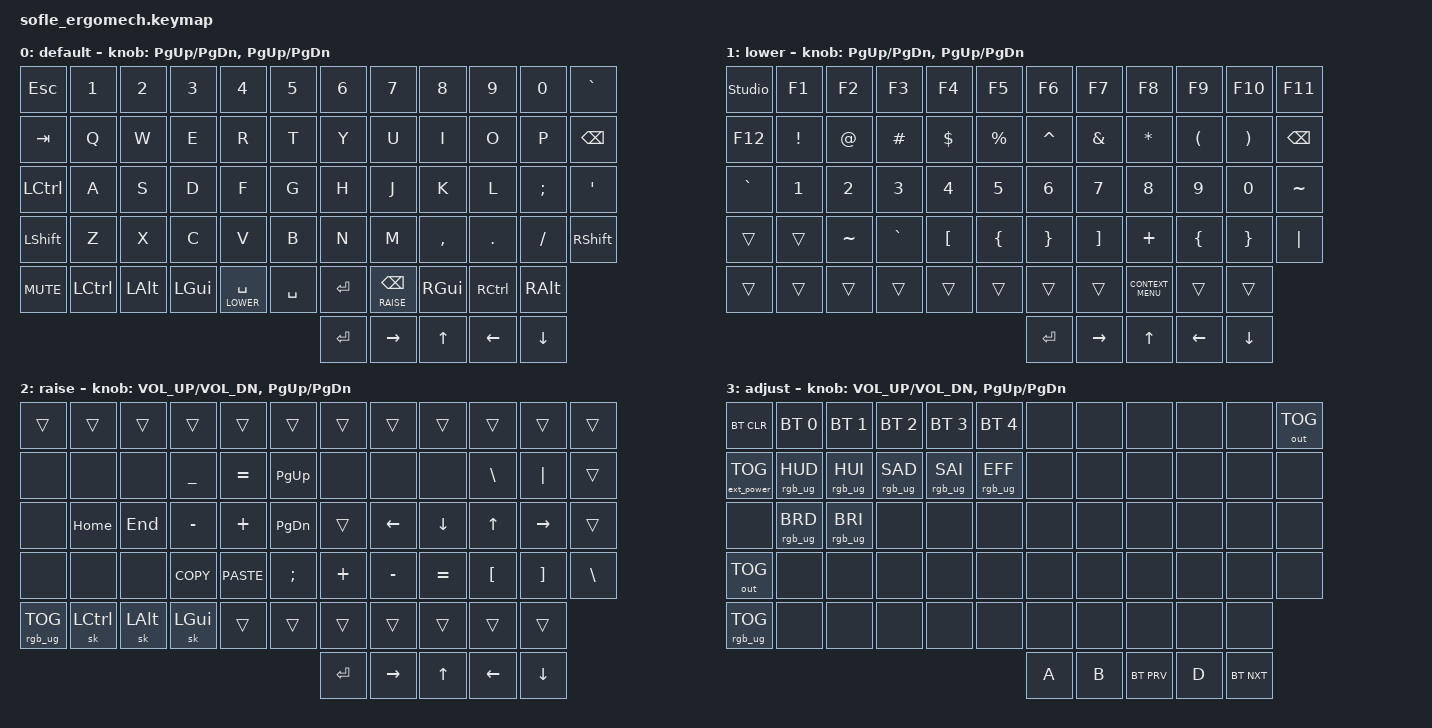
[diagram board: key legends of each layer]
/*
 * Copyright (c) 2020 The ZMK Contributors
 *
 * SPDX-License-Identifier: MIT
 */

#include <behaviors.dtsi>
#include <dt-bindings/zmk/bt.h>
#include <dt-bindings/zmk/ext_power.h>
#include <dt-bindings/zmk/keys.h>
#include <dt-bindings/zmk/outputs.h>
#include <dt-bindings/zmk/rgb.h>

#define BASE 0
#define LOWER 1
#define RAISE 2
#define ADJUST 3

&lt { tapping-term-ms = <150>; };

/ {
    // Activate ADJUST layer by pressing raise and lower

    conditional_layers {
        compatible = "zmk,conditional-layers";

        adjust_layer {
            if-layers = <LOWER RAISE>;
            then-layer = <ADJUST>;
        };
    };

    keymap {
        compatible = "zmk,keymap";

        default_layer {
            label = "default";
            bindings = <
&kp ESC     &kp N1     &kp N2    &kp N3    &kp N4           &kp N5     &kp N6     &kp N7          &kp N8        &kp N9     &kp N0    &kp GRAVE
&kp TAB     &kp Q      &kp W     &kp E     &kp R            &kp T      &kp Y      &kp U           &kp I         &kp O      &kp P     &kp BSPC
&kp LCTRL   &kp A      &kp S     &kp D     &kp F            &kp G      &kp H      &kp J           &kp K         &kp L      &kp SEMI  &kp SQT
&kp LSHFT   &kp Z      &kp X     &kp C     &kp V            &kp B      &kp N      &kp M           &kp COMMA     &kp DOT    &kp FSLH  &kp RSHFT
&kp C_MUTE  &kp LCTRL  &kp LALT  &kp LGUI  &lt LOWER SPACE  &kp SPACE  &kp RET    &lt RAISE BSPC  &kp RGUI      &kp RCTRL  &kp RALT
                                                                       &kp ENTER  &kp RIGHT       &kp UP_ARROW  &kp LEFT   &kp DOWN
            >;

            sensor-bindings = <&inc_dec_kp PG_UP PG_DN &inc_dec_kp PG_UP PG_DN>;
        };

        lower_layer {
            label = "lower";
            bindings = <
&studio_unlock    &kp F1        &kp F2        &kp F3        &kp F4            &kp F5          &kp F6           &kp F7             &kp F8              &kp F9                &kp F10                &kp F11
&kp F12    &kp EXCL      &kp AT        &kp HASH      &kp DOLLAR        &kp PERCENT     &kp CARET        &kp AMPERSAND      &kp ASTERISK        &kp LEFT_PARENTHESIS  &kp RIGHT_PARENTHESIS  &kp BACKSPACE
&kp GRAVE  &kp NUMBER_1  &kp NUMBER_2  &kp NUMBER_3  &kp NUMBER_4      &kp N5          &kp NUMBER_6     &kp NUMBER_7       &kp N8              &kp N9                &kp NUMBER_0           &kp TILDE
&trans     &trans        &kp TILDE     &kp GRAVE     &kp LEFT_BRACKET  &kp LEFT_BRACE  &kp RIGHT_BRACE  &kp RIGHT_BRACKET  &kp PLUS            &kp LBRC              &kp RBRC               &kp PIPE
&trans     &trans        &trans        &trans        &trans            &trans          &trans           &trans             &kp K_CONTEXT_MENU  &trans                &trans
                                                                                       &kp ENTER        &kp RIGHT          &kp UP_ARROW        &kp LEFT              &kp DOWN
            >;

            sensor-bindings = <&inc_dec_kp PG_UP PG_DN &inc_dec_kp PG_UP PG_DN>;
        };

        raise_layer {
            label = "raise";
            bindings = <
&trans           &trans     &trans        &trans          &trans       &trans         &trans     &trans     &trans        &trans         &trans     &trans
&none            &none      &none         &kp UNDERSCORE  &kp EQUAL    &kp PAGE_UP    &none      &none      &none         &kp BACKSLASH  &kp PIPE   &trans
&none            &kp HOME   &kp END       &kp MINUS       &kp PLUS     &kp PAGE_DOWN  &trans     &kp LEFT   &kp DOWN      &kp UP         &kp RIGHT  &trans
&none            &none      &none         &kp K_COPY      &kp K_PASTE  &kp SEMI       &kp PLUS   &kp MINUS  &kp EQUAL     &kp LBKT       &kp RBKT   &kp BSLH
&rgb_ug RGB_TOG  &sk LCTRL  &sk LEFT_ALT  &sk LGUI        &trans       &trans         &trans     &trans     &trans        &trans         &trans
                                                                                      &kp ENTER  &kp RIGHT  &kp UP_ARROW  &kp LEFT       &kp DOWN
            >;

            sensor-bindings = <&inc_dec_kp C_VOL_UP C_VOL_DN &inc_dec_kp PG_UP PG_DN>;
        };

        adjust_layer {
            // ----------------------------------------------------------------------------------------------------------------------------
            // | BTCLR  |  BT1    |  BT2    |   BT3   |   BT4   |   BT5   |                  |      |      |       |      |       |       |
            // | EXTPWR | RGB_HUD | RGB_HUI | RGB_SAD | RGB_SAI | RGB_EFF |                  |      |      |       |      |       |       |
            // |        | RGB_BRD | RGB_BRI |         |         |         |                  |      |      |       |      |       |       |
            // |        |         |         |         |         |         | RGB_TOG | |      |      |      |       |      |       |       |
            //                    |         |         |         |         |         | |      |      |      |       |      |

            label = "adjust";
            bindings = <
&bt BT_CLR         &bt BT_SEL 0     &bt BT_SEL 1     &bt BT_SEL 2     &bt BT_SEL 3     &bt BT_SEL 4     &none  &none  &none       &none  &none       &out OUT_TOG
&ext_power EP_TOG  &rgb_ug RGB_HUD  &rgb_ug RGB_HUI  &rgb_ug RGB_SAD  &rgb_ug RGB_SAI  &rgb_ug RGB_EFF  &none  &none  &none       &none  &none       &none
&none              &rgb_ug RGB_BRD  &rgb_ug RGB_BRI  &none            &none            &none            &none  &none  &none       &none  &none       &none
&out OUT_TOG       &none            &none            &none            &none            &none            &none  &none  &none       &none  &none       &none
&rgb_ug RGB_TOG    &none            &none            &none            &none            &none            &none  &none  &none       &none  &none
                                                                                                        &kp A  &kp B  &bt BT_PRV  &kp D  &bt BT_NXT
            >;

            sensor-bindings = <&inc_dec_kp C_VOL_UP C_VOL_DN &inc_dec_kp PG_UP PG_DN>;
        };
    };
};
